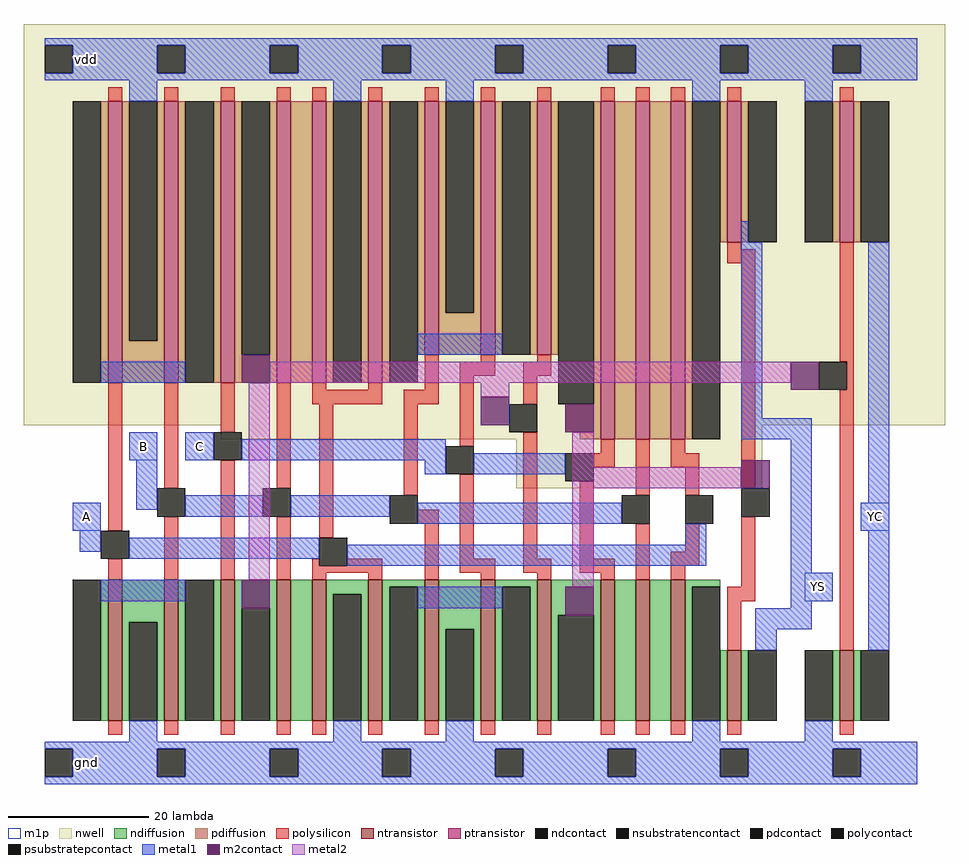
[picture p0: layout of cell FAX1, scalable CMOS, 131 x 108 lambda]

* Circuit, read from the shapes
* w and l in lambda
.subckt FAX1 A B C YC YS gnd vdd
M1 gnd A n1 gnd nfet w=20 l=2
M2 n1 B gnd gnd nfet w=20 l=2
M3 n2 C n1 gnd nfet w=20 l=2
M4 n3 B n2 gnd nfet w=20 l=2
M5 gnd A n3 gnd nfet w=20 l=2
M6 n4 A gnd gnd nfet w=20 l=2
M7 gnd B n4 gnd nfet w=20 l=2
M8 n4 C gnd gnd nfet w=20 l=2
M9 n5 n2 n4 gnd nfet w=20 l=2
M10 n6 C n5 gnd nfet w=20 l=2
M11 n7 B n6 gnd nfet w=20 l=2
M12 gnd A n7 gnd nfet w=20 l=2
M13 YS n5 gnd gnd nfet w=10 l=2
M14 YC n2 gnd gnd nfet w=10 l=2
M15 vdd A n8 vdd pfet w=40 l=2
M16 n8 B vdd vdd pfet w=40 l=2
M17 n2 C n8 vdd pfet w=40 l=2
M18 n9 B n2 vdd pfet w=40 l=2
M19 vdd A n9 vdd pfet w=40 l=2
M20 n10 A vdd vdd pfet w=40 l=2
M21 vdd B n10 vdd pfet w=36 l=2
M22 n10 C vdd vdd pfet w=36 l=2
M23 n5 n2 n10 vdd pfet w=36 l=2
M24 n11 C n5 vdd pfet w=48 l=2
M25 n12 B n11 vdd pfet w=48 l=2
M26 vdd A n12 vdd pfet w=48 l=2
M27 YS n5 vdd vdd pfet w=20 l=2
M28 YC n2 vdd vdd pfet w=20 l=2
.ends

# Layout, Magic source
magic
tech scmos
<< nwell >>
rect -5 48 126 105
rect 23 46 100 48
rect 65 39 100 46
<< ntransistor >>
rect 7 6 9 26
rect 15 6 17 26
rect 23 6 25 26
rect 31 6 33 26
rect 36 6 38 26
rect 44 6 46 26
rect 52 6 54 26
rect 60 6 62 26
rect 68 6 70 26
rect 77 6 79 26
rect 82 6 84 26
rect 87 6 89 26
rect 95 6 97 16
rect 111 6 113 16
<< ptransistor >>
rect 7 54 9 94
rect 15 54 17 94
rect 23 54 25 94
rect 31 54 33 94
rect 36 54 38 94
rect 44 54 46 94
rect 52 58 54 94
rect 60 58 62 94
rect 68 58 70 94
rect 77 46 79 94
rect 82 46 84 94
rect 87 46 89 94
rect 95 74 97 94
rect 111 74 113 94
<< ndiffusion >>
rect 6 6 7 26
rect 9 20 15 26
rect 9 6 10 20
rect 14 6 15 20
rect 17 6 18 26
rect 22 6 23 26
rect 25 22 31 26
rect 25 6 26 22
rect 30 6 31 22
rect 33 6 36 26
rect 38 24 44 26
rect 38 6 39 24
rect 43 6 44 24
rect 46 25 52 26
rect 46 6 47 25
rect 51 6 52 25
rect 54 19 60 26
rect 54 6 55 19
rect 59 6 60 19
rect 62 25 68 26
rect 62 6 63 25
rect 67 6 68 25
rect 70 21 77 26
rect 70 6 71 21
rect 76 6 77 21
rect 79 6 82 26
rect 84 6 87 26
rect 89 25 94 26
rect 89 6 90 25
rect 94 6 95 16
rect 97 6 98 16
rect 110 6 111 16
rect 113 6 114 16
<< pdiffusion >>
rect 6 54 7 94
rect 9 60 10 94
rect 14 60 15 94
rect 9 54 15 60
rect 17 54 18 94
rect 22 54 23 94
rect 25 58 26 94
rect 30 58 31 94
rect 25 54 31 58
rect 33 54 36 94
rect 38 54 39 94
rect 43 54 44 94
rect 46 54 47 94
rect 51 58 52 94
rect 54 64 55 94
rect 59 64 60 94
rect 54 58 60 64
rect 62 58 63 94
rect 67 58 68 94
rect 70 58 71 94
rect 76 51 77 94
rect 72 47 77 51
rect 74 46 77 47
rect 79 46 82 94
rect 84 46 87 94
rect 89 46 90 94
rect 94 74 95 94
rect 97 74 98 94
rect 110 74 111 94
rect 113 74 114 94
<< ndcontact >>
rect 2 6 6 26
rect 10 6 14 20
rect 18 6 22 26
rect 26 6 30 22
rect 39 6 43 24
rect 47 6 51 25
rect 55 6 59 19
rect 63 6 67 25
rect 71 6 76 21
rect 90 6 94 25
rect 98 6 102 16
rect 106 6 110 16
rect 114 6 118 16
<< pdcontact >>
rect 2 54 6 94
rect 10 60 14 94
rect 18 54 22 94
rect 26 58 30 94
rect 39 54 43 94
rect 47 54 51 94
rect 55 64 59 94
rect 63 58 67 94
rect 71 51 76 94
rect 90 46 94 94
rect 98 74 102 94
rect 106 74 110 94
rect 114 74 118 94
<< psubstratepcontact >>
rect -2 -2 2 2
rect 14 -2 18 2
rect 30 -2 34 2
rect 46 -2 50 2
rect 62 -2 66 2
rect 78 -2 82 2
rect 94 -2 98 2
rect 110 -2 114 2
<< nsubstratencontact >>
rect -2 98 2 102
rect 14 98 18 102
rect 30 98 34 102
rect 46 98 50 102
rect 62 98 66 102
rect 78 98 82 102
rect 94 98 98 102
rect 110 98 114 102
<< polysilicon >>
rect 7 94 9 96
rect 15 94 17 96
rect 23 94 25 96
rect 31 94 33 96
rect 36 94 38 96
rect 44 94 46 96
rect 52 94 54 96
rect 60 94 62 96
rect 68 94 70 96
rect 77 94 79 96
rect 82 94 84 96
rect 87 94 89 96
rect 95 94 97 96
rect 111 94 113 96
rect 7 33 9 54
rect 15 39 17 54
rect 23 47 25 54
rect 7 26 9 29
rect 15 26 17 35
rect 23 26 25 43
rect 31 39 33 54
rect 36 53 38 54
rect 44 53 46 54
rect 52 53 54 58
rect 60 57 62 58
rect 68 57 70 58
rect 36 51 46 53
rect 49 51 54 53
rect 57 55 62 57
rect 66 55 70 57
rect 31 26 33 35
rect 37 32 39 51
rect 49 38 51 51
rect 57 45 59 55
rect 66 51 68 55
rect 51 34 54 36
rect 36 28 37 29
rect 41 28 46 29
rect 36 27 46 28
rect 36 26 38 27
rect 44 26 46 27
rect 52 26 54 34
rect 57 29 59 41
rect 66 29 68 47
rect 95 73 97 74
rect 95 71 99 73
rect 77 44 79 46
rect 76 42 79 44
rect 74 29 76 40
rect 82 38 84 46
rect 87 44 89 46
rect 87 42 91 44
rect 57 27 62 29
rect 66 27 70 29
rect 74 27 79 29
rect 60 26 62 27
rect 68 26 70 27
rect 77 26 79 27
rect 82 26 84 34
rect 89 38 91 42
rect 97 39 99 71
rect 111 57 113 74
rect 112 53 113 57
rect 89 30 91 34
rect 87 28 91 30
rect 87 26 89 28
rect 97 25 99 35
rect 95 23 99 25
rect 95 16 97 23
rect 111 16 113 53
rect 7 4 9 6
rect 15 4 17 6
rect 23 4 25 6
rect 31 4 33 6
rect 36 4 38 6
rect 44 4 46 6
rect 52 4 54 6
rect 60 4 62 6
rect 68 4 70 6
rect 77 4 79 6
rect 82 4 84 6
rect 87 4 89 6
rect 95 4 97 6
rect 111 4 113 6
<< polycontact >>
rect 22 43 26 47
rect 14 35 18 39
rect 6 29 10 33
rect 29 35 33 39
rect 64 47 68 51
rect 55 41 59 45
rect 47 34 51 38
rect 37 28 41 32
rect 72 40 76 44
rect 80 34 84 38
rect 108 53 112 57
rect 89 34 93 38
rect 97 35 101 39
<< metal1 >>
rect -2 102 122 103
rect 2 98 14 102
rect 18 98 30 102
rect 34 98 46 102
rect 50 98 62 102
rect 66 98 78 102
rect 82 98 94 102
rect 98 98 110 102
rect 114 98 122 102
rect -2 97 122 98
rect 10 94 14 97
rect 39 94 43 97
rect 55 94 59 97
rect 90 94 94 97
rect 106 94 110 97
rect 6 54 18 57
rect 51 58 63 61
rect 10 43 14 47
rect 18 43 22 47
rect 97 74 98 77
rect 97 49 100 74
rect 97 46 107 49
rect 26 43 55 46
rect 2 33 6 37
rect 11 36 14 43
rect 52 41 55 43
rect 59 41 72 44
rect 18 35 29 38
rect 33 35 47 38
rect 51 34 80 37
rect 3 30 6 33
rect 10 29 37 32
rect 89 31 92 34
rect 41 28 92 31
rect 104 27 107 46
rect 115 37 118 74
rect 114 33 118 37
rect 6 23 18 26
rect 51 22 63 25
rect 104 23 110 27
rect 104 22 107 23
rect 99 19 107 22
rect 99 16 102 19
rect 115 16 118 33
rect 10 3 14 6
rect 39 3 43 6
rect 55 3 59 6
rect 90 3 94 6
rect 106 3 110 6
rect -2 2 122 3
rect 2 -2 14 2
rect 18 -2 30 2
rect 34 -2 46 2
rect 50 -2 62 2
rect 66 -2 78 2
rect 82 -2 94 2
rect 98 -2 110 2
rect 114 -2 122 2
rect -2 -3 122 -2
<< m2contact >>
rect 26 54 30 58
rect 60 48 64 52
rect 72 47 76 51
rect 104 53 108 57
rect 97 39 101 43
rect 26 22 30 26
rect 72 21 76 25
<< metal2 >>
rect 30 54 104 57
rect 27 26 30 54
rect 60 52 64 54
rect 73 42 76 47
rect 73 39 97 42
rect 73 25 76 39
<< m1p >>
rect 10 43 14 47
rect 18 43 22 47
rect 2 33 6 37
rect 114 33 118 37
rect 106 23 110 27
<< labels >>
rlabel metal1 4 0 4 0 1 gnd
rlabel metal1 4 100 4 100 5 vdd
rlabel metal1 4 35 4 35 1 A
rlabel metal1 12 45 12 45 1 B
rlabel metal1 20 45 20 45 1 C
rlabel metal1 116 35 116 35 1 YC
rlabel metal1 108 25 108 25 1 YS
<< end >>
